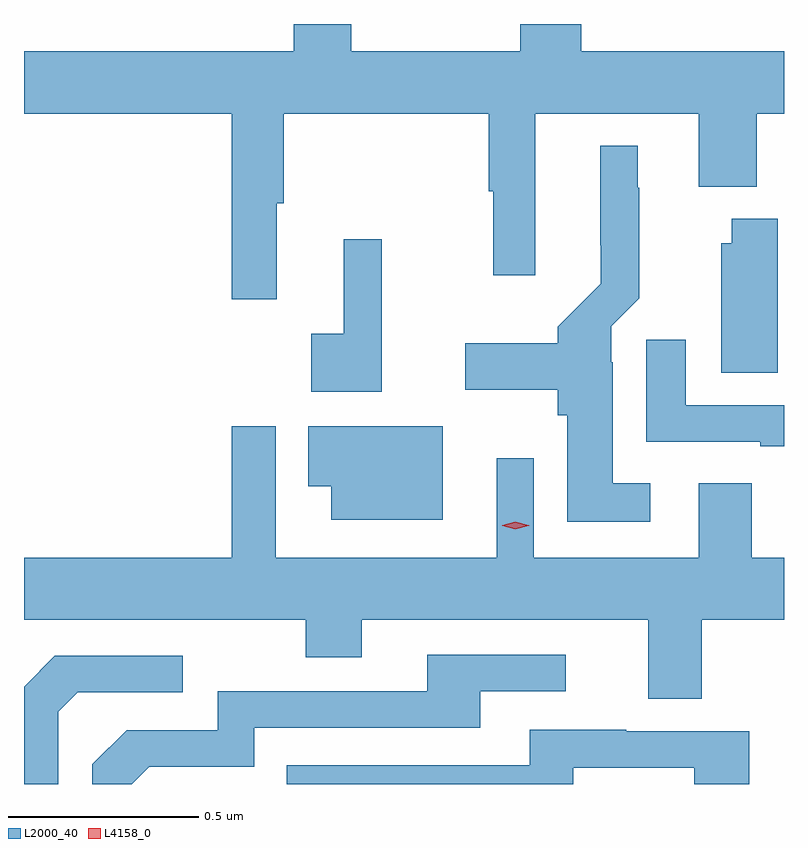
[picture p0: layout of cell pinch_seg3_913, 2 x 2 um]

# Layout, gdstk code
import gdstk
lib = gdstk.Library(unit=1e-6, precision=1e-09)
def P(c, l, *ps):  # polygons
    for p in ps: c.add(gdstk.Polygon(p, *l))
L2000_40 = (2000, 40)
L4158_0 = (4158, 0)

pinch_seg3_913 = lib.new_cell('pinch_seg3_913')
P(pinch_seg3_913, L2000_40, [(806.633,698.016),(806.651,698.016),(806.651,698.252),(807.191,698.252),(807.191,698.048),(807.203,698.048),(807.203,697.827),(807.313,697.827),(807.313,698.252),(807.743,698.252),(807.743,698.06),(807.896,698.06),(807.896,698.252),(807.968,698.252),(807.968,698.416),(807.434,698.416),(807.434,698.488),(807.274,698.488),(807.274,698.416),(806.829,698.416),(806.829,698.488),(806.678,698.488),(806.678,698.416),(805.968,698.416),(805.968,698.252),(806.515,698.252),(806.515,697.764),(806.633,697.764)],
  [(807.616,697.279),(807.517,697.279),(807.517,697.598),(807.513,697.598),(807.513,697.692),(807.587,697.766),(807.587,698.057),(807.583,698.057),(807.583,698.167),(807.485,698.167),(807.485,697.906),(807.486,697.906),(807.486,697.804),(807.373,697.691),(807.373,697.648),(807.129,697.648),(807.129,697.526),(807.373,697.526),(807.373,697.458),(807.398,697.458),(807.398,697.178),(807.616,697.178)],
  [(807.952,697.975),(807.83,697.975),(807.83,697.911),(807.803,697.911),(807.803,697.57),(807.952,697.57)],
  [(806.91,697.921),(806.81,697.921),(806.81,697.673),(806.724,697.673),(806.724,697.52),(806.91,697.52)],
  [(807.968,697.485),(807.709,697.485),(807.709,697.657),(807.605,697.657),(807.605,697.389),(807.905,697.389),(807.905,697.377),(807.968,697.377)],
  [(807.07,697.429),(806.716,697.429),(806.716,697.271),(806.777,697.271),(806.777,697.184),(807.07,697.184)],
  [(807.751,696.92),(807.968,696.92),(807.968,697.084),(807.883,697.084),(807.883,697.279),(807.743,697.279),(807.743,697.084),(807.309,697.084),(807.309,697.345),(807.212,697.345),(807.212,697.084),(806.631,697.084),(806.631,697.429),(806.515,697.429),(806.515,697.084),(805.968,697.084),(805.968,696.92),(806.71,696.92),(806.71,696.821),(806.857,696.821),(806.857,696.92),(807.611,696.92),(807.611,696.712),(807.751,696.712)],
  [(806.297,696.533),(806.574,696.533),(806.574,696.636),(807.169,696.636),(807.169,696.732),(807.394,696.732),(807.394,696.828),(807.029,696.828),(807.029,696.732),(806.478,696.732),(806.478,696.63),(806.238,696.63),(806.148,696.54),(806.148,696.488),(806.252,696.488)],
  [(806.058,696.678),(806.109,696.729),(806.386,696.729),(806.386,696.825),(806.049,696.825),(805.968,696.744),(805.968,696.488),(806.058,696.488)],
  [(807.414,696.531),(807.732,696.531),(807.732,696.488),(807.877,696.488),(807.877,696.627),(807.553,696.627),(807.553,696.631),(807.299,696.631),(807.299,696.537),(806.659,696.537),(806.659,696.488),(807.414,696.488)])
P(pinch_seg3_913, L4158_0, [(807.261,697.158),(807.226,697.168),(807.226,697.168),(807.226,697.169),(807.261,697.178),(807.296,697.169),(807.297,697.168),(807.296,697.168)])

lib.write_gds('pinch_seg3_913.gds')
